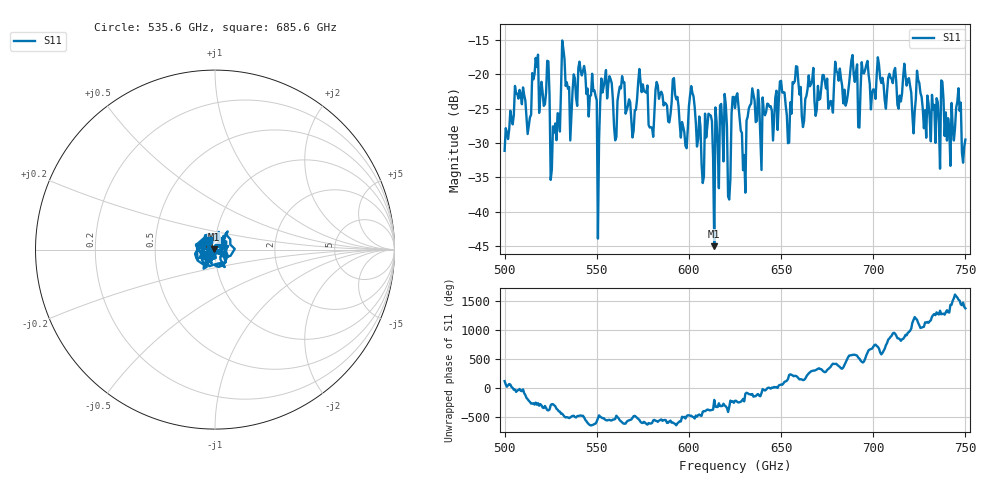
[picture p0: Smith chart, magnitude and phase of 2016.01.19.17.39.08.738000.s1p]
!Created with skrf (http://scikit-rf.org).
# GHz S RI R 50.0
!freq ReS11 ImS11
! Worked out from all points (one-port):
!   401 points, 500 GHz to 750 GHz, reference 50 ohm
!   lowest |S11| = -45.0 dB at 613.8 GHz (marker M1), VSWR 1.01, Z = 49.5 + j0.253 ohm
!   |S11| at or under -10 dB: start of sweep to end of sweep
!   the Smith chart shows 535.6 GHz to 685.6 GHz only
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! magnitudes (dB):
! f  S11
! 500 GHz  -31.1
! 506.9 GHz  -22.8
! 513.1 GHz  -27.4
! 516.9 GHz  -17.6
! 523.1 GHz  -18.0
! 526.2 GHz  -27.6
! 531.2 GHz  -15.1
! 548.8 GHz  -22.3
! 550.6 GHz  -43.9
! 553.8 GHz  -21.8
! 560 GHz  -29.6
! 562.5 GHz  -21.8
! 570 GHz  -28.2
! 573.8 GHz  -21.0
! 579.4 GHz  -27.7
! 593.8 GHz  -23.3
! 613.8 GHz  -45.0
! 618.8 GHz  -32.7
! 621.9 GHz  -38.2
! 625 GHz  -24.9
! 629.4 GHz  -34.0
! 634.4 GHz  -22.0
! 656.2 GHz  -21.1
! 687.5 GHz  -19.7
! 718.8 GHz  -20.8
! 740.6 GHz  -26.4
! 746.2 GHz  -22.0
! 750 GHz  -29.5
